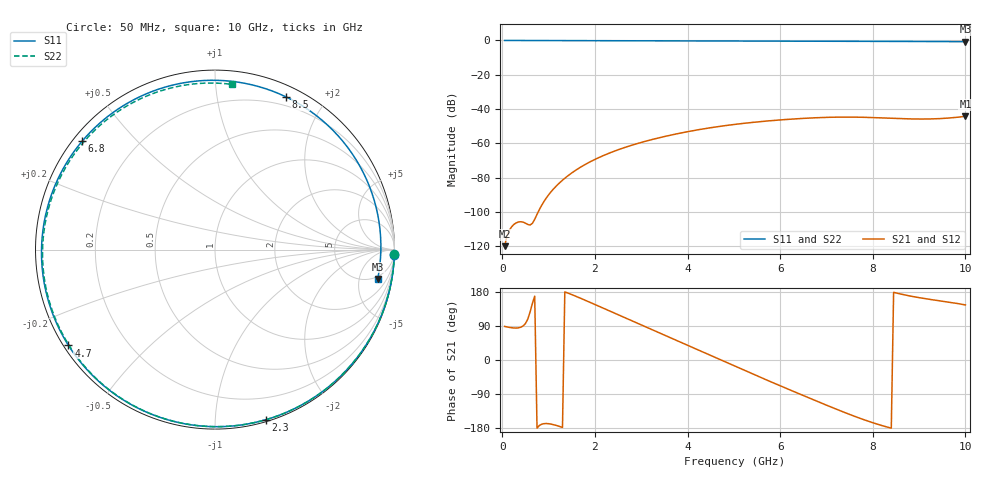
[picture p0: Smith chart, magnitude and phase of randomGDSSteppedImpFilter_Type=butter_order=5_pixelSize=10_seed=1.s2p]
! freq	dB(S11)	phase(S11)	dB(S12)	phase(S12)
!  dB(S21)	phase(S21)	dB(S22)	phase(S22)
!S-par simulation data
#  GHz  S  DB  R 50
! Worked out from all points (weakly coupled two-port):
!   200 points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, 50 MHz to 10 GHz, reference 50 ohm
!   highest |S21| = -44.20 dB at 10 GHz (marker M1); lowest = -119.8 dB at 50 MHz (marker M2)
!   lowest |S11| = -0.7 dB at 10 GHz (marker M3), VSWR 24.35, Z = 213 - j461 ohm
!   |S11| at or under -10 dB: nowhere
!   |S22| runs from -0.7 to 0.0 dB; largest |S21 - S12| = 0
!   S11 on the Smith chart (normalised r, x): 50 MHz: 0, -69; 2.3 GHz: 0.02, -1.34; 4.7 GHz: 0.01, -0.30; 6.8 GHz: 0.03, +0.36; 8.5 GHz: 0.11, +1.56; 10 GHz: 4, -9
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0.05  -0.00 -1.7  -119.82 88.6  -119.82 88.6  -0.00 -1.4
0.7  -0.03 -22.8  -104.16 168.5  -104.16 168.5  -0.02 -19.5
1.35  -0.06 -43.6  -80.25 179.8  -80.25 179.8  -0.05 -37.4
1.75  -0.07 -56.2  -72.85 159.8  -72.85 159.8  -0.06 -48.2
2.3  -0.09 -73.3  -65.73 130.2  -65.73 130.2  -0.08 -62.9
2.85  -0.12 -90.2  -60.58 100.5  -60.58 100.5  -0.10 -77.2
3.4  -0.14 -107.0  -56.60 71.0  -56.60 71.0  -0.12 -91.3
4.05  -0.18 -126.7  -52.89 36.2  -52.89 36.2  -0.15 -107.6
4.7  -0.22 -146.8  -50.03 1.1  -50.03 1.1  -0.18 -123.8
5.05  -0.24 -157.9  -48.79 -17.8  -48.79 -17.8  -0.20 -132.4
5.9  -0.31 173.8  -46.50 -62.8  -46.50 -62.8  -0.26 -153.6
6.7  -0.39 144.6  -45.11 -104.0  -45.11 -104.0  -0.33 -174.2
6.8  -0.40 140.7  -44.99 -109.1  -44.99 -109.1  -0.34 -176.8
7.25  -0.44 122.5  -44.66 -131.6  -44.66 -131.6  -0.38 171.1
7.65  -0.48 105.2  -44.67 -150.6  -44.67 -150.6  -0.42 160.0
8  -0.51 89.2  -44.91 -165.5  -44.91 -165.5  -0.45 149.9
8.35  -0.54 72.5  -45.28 -178.3  -45.28 -178.3  -0.49 139.5
8.5  -0.55 65.2  -45.44 177.0  -45.44 177.0  -0.50 134.9
8.9  -0.59 45.2  -45.74 166.7  -45.74 166.7  -0.54 122.2
9.3  -0.63 24.9  -45.67 158.8  -45.67 158.8  -0.59 109.0
9.65  -0.67 7.2  -45.17 152.6  -45.17 152.6  -0.63 96.8
10  -0.71 -10.2  -44.20 145.3  -44.20 145.3  -0.67 84.1
